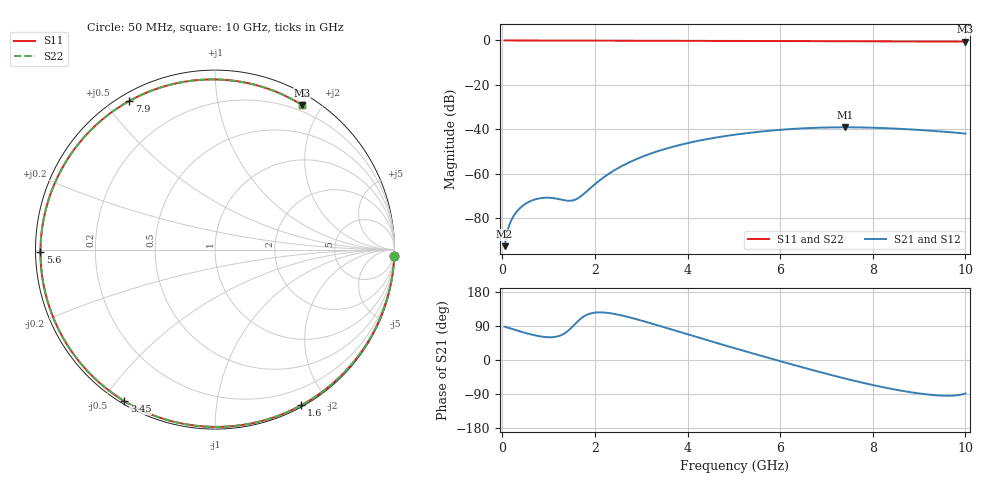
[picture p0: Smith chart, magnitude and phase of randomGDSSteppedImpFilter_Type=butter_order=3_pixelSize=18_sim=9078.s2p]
! freq	dB(S11)	phase(S11)	dB(S12)	phase(S12)
!  dB(S21)	phase(S21)	dB(S22)	phase(S22)
!S-par simulation data
#  GHz  S  DB  R 50
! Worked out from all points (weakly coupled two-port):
!   200 points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, 50 MHz to 10 GHz, reference 50 ohm
!   highest |S21| = -39.09 dB at 7.4 GHz (marker M1); lowest = -92.6 dB at 50 MHz (marker M2)
!   lowest |S11| = -0.5 dB at 10 GHz (marker M3), VSWR 32.48, Z = 6.33 + j88.1 ohm
!   |S11| at or under -10 dB: nowhere
!   |S22| runs from -0.5 to 0.0 dB; largest |S21 - S12| = 0
!   S11 on the Smith chart (normalised r, x): 50 MHz: 0, -57; 1.6 GHz: 0.02, -1.69; 3.45 GHz: 0.01, -0.57; 5.6 GHz: 0.01, -0.01; 7.9 GHz: 0.03, +0.58; 10 GHz: 0.13, +1.76
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0.05  -0.00 -2.0  -92.60 88.0  -92.60 88.0  -0.00 -2.0
0.2  -0.01 -7.9  -80.71 82.3  -80.71 82.3  -0.01 -7.9
0.45  -0.02 -17.8  -74.28 73.1  -74.28 73.1  -0.02 -17.8
0.75  -0.04 -29.4  -71.32 63.9  -71.32 63.9  -0.04 -29.4
1  -0.05 -39.0  -70.80 60.0  -70.80 60.0  -0.05 -39.0
1.45  -0.07 -55.7  -72.18 80.2  -72.18 80.2  -0.07 -55.7
1.6  -0.08 -61.1  -71.43 98.5  -71.43 98.5  -0.08 -61.1
1.75  -0.08 -66.4  -69.25 114.1  -69.25 114.1  -0.08 -66.4
2.15  -0.10 -80.2  -62.22 125.6  -62.22 125.6  -0.10 -80.2
2.5  -0.11 -91.7  -57.47 119.6  -57.47 119.6  -0.11 -91.7
3.4  -0.14 -119.4  -49.57 89.9  -49.57 89.9  -0.14 -119.4
3.45  -0.14 -120.9  -49.24 88.1  -49.24 88.1  -0.14 -120.9
4.25  -0.17 -143.5  -45.10 58.7  -45.10 58.7  -0.17 -143.5
5.05  -0.21 -164.8  -42.34 29.9  -42.34 29.9  -0.21 -164.8
5.6  -0.24 -179.2  -40.98 10.7  -40.98 10.7  -0.24 -179.2
6.15  -0.27 166.6  -39.99 -8.2  -39.99 -8.2  -0.27 166.6
6.7  -0.31 152.2  -39.37 -26.6  -39.37 -26.6  -0.31 152.2
7.4  -0.36 133.6  -39.09 -48.9  -39.09 -48.9  -0.36 133.6
7.9  -0.39 120.0  -39.22 -63.4  -39.22 -63.4  -0.39 120.0
8.35  -0.42 107.4  -39.55 -74.9  -39.55 -74.9  -0.42 107.4
9.2  -0.48 82.8  -40.56 -91.3  -40.56 -91.3  -0.48 82.8
10  -0.53 59.0  -41.91 -88.3  -41.91 -88.3  -0.53 59.0
